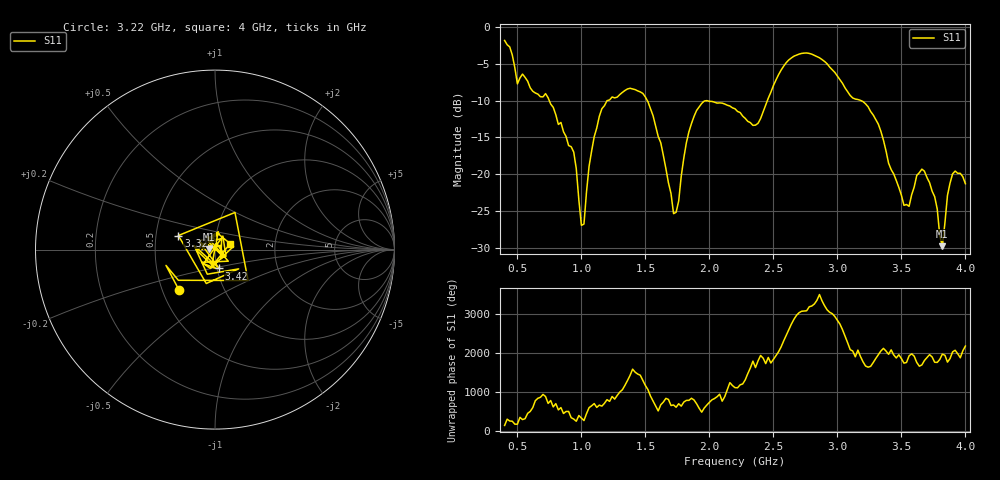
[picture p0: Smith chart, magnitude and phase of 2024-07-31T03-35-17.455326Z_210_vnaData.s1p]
!Created with skrf (http://scikit-rf.org).
# Hz S RI R 50.0
!freq ReS11 ImS11
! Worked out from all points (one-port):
!   181 points, 400 MHz to 4 GHz, reference 50 ohm
!   lowest |S11| = -29.8 dB at 3.82 GHz (marker M1), VSWR 1.07, Z = 46.9 + j0.335 ohm
!   |S11| at or under -10 dB: 748.8 MHz to 1.204 GHz (454.9 MHz wide, 46.6 % of centre); 1.515 GHz to 2.453 GHz (938.5 MHz wide, 47.3 % of centre); 3.183 GHz to end of sweep
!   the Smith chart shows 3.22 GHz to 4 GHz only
!   S11 on the Smith chart (normalised r, x): 3.22 GHz: 0.61, -0.30; 3.32 GHz: 0.65, +0.11; 3.42 GHz: 1.02, -0.22; 4 GHz: 1.17, +0.07
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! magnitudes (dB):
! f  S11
! 400 MHz  -1.8
! 500 MHz  -7.7
! 720 MHz  -9.1
! 860 MHz  -14.2
! 940 MHz  -17.0
! 1 GHz  -26.9
! 1.02 GHz  -26.8
! 1.06 GHz  -18.9
! 1.14 GHz  -12.1
! 1.3 GHz  -9.2
! 1.5 GHz  -9.5
! 1.62 GHz  -15.7
! 1.72 GHz  -25.4
! 1.76 GHz  -23.6
! 1.82 GHz  -15.7
! 1.9 GHz  -11.3
! 2.2 GHz  -11.1
! 2.38 GHz  -13.1
! 2.66 GHz  -4.0
! 3.1 GHz  -9.3
! 3.22 GHz  -10.4
! 3.32 GHz  -13.2
! 3.42 GHz  -19.4
! 3.56 GHz  -24.4
! 3.68 GHz  -19.6
! 3.82 GHz  -29.8
! 3.9 GHz  -20.0
! 4 GHz  -21.3
